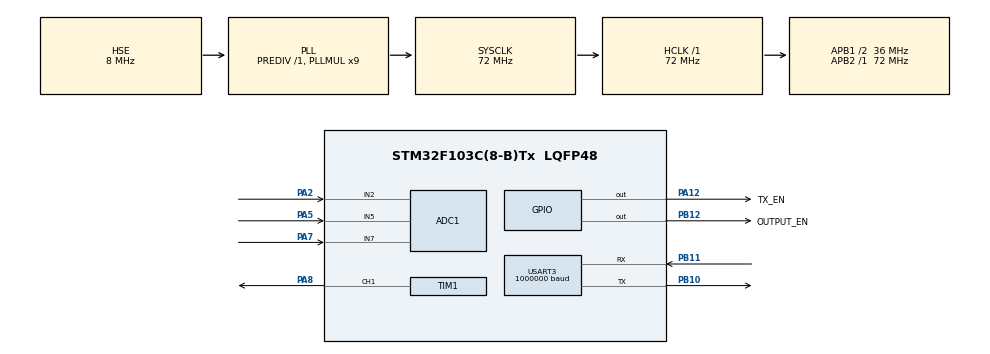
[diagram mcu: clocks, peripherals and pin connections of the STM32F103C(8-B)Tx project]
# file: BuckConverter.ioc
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ADC1.Channel-1\#ChannelRegularConversion=ADC_CHANNEL_2
ADC1.Channel-2\#ChannelRegularConversion=ADC_CHANNEL_5
ADC1.Channel-6\#ChannelRegularConversion=ADC_CHANNEL_7
ADC1.ContinuousConvMode=DISABLE
ADC1.ExternalTrigConv=ADC_EXTERNALTRIGCONV_T3_TRGO
ADC1.InjNumberOfConversion=0
ADC1.NbrOfConversion=3
ADC1.NbrOfConversionFlag=1
ADC1.Rank-1\#ChannelRegularConversion=1
ADC1.Rank-2\#ChannelRegularConversion=2
ADC1.Rank-6\#ChannelRegularConversion=3
ADC1.SamplingTime-1\#ChannelRegularConversion=ADC_SAMPLETIME_55CYCLES_5
ADC1.SamplingTime-2\#ChannelRegularConversion=ADC_SAMPLETIME_55CYCLES_5
ADC1.SamplingTime-6\#ChannelRegularConversion=ADC_SAMPLETIME_55CYCLES_5
ADC1.master=1
Dma.ADC1.0.Direction=DMA_PERIPH_TO_MEMORY
Dma.ADC1.0.Instance=DMA1_Channel1
Dma.ADC1.0.MemDataAlignment=DMA_MDATAALIGN_WORD
Dma.ADC1.0.MemInc=DMA_MINC_ENABLE
Dma.ADC1.0.Mode=DMA_CIRCULAR
Dma.ADC1.0.PeriphDataAlignment=DMA_PDATAALIGN_WORD
Dma.ADC1.0.PeriphInc=DMA_PINC_DISABLE
Dma.ADC1.0.Priority=DMA_PRIORITY_LOW
Dma.Request0=ADC1
Mcu.Family=STM32F1
Mcu.Name=STM32F103C(8-B)Tx
Mcu.Package=LQFP48
NVIC.DMA1_Channel1_IRQn=true\:0\:0\:false\:false\:true\:false\:true
NVIC.PriorityGroup=NVIC_PRIORITYGROUP_2
NVIC.USART3_IRQn=true\:1\:1\:true\:false\:true\:true\:true
PA12.GPIO_Label=TX_EN
PA12.Signal=GPIO_Output
PA13.Mode=Trace_Asynchronous_SW
PA13.Signal=SYS_JTMS-SWDIO
PA14.Mode=Trace_Asynchronous_SW
PA14.Signal=SYS_JTCK-SWCLK
PA2.Signal=ADCx_IN2
PA5.Signal=ADCx_IN5
PA7.Signal=ADCx_IN7
PA8.Signal=S_TIM1_CH1
PB10.Mode=Asynchronous
PB10.Signal=USART3_TX
PB11.Mode=Asynchronous
PB11.Signal=USART3_RX
PB12.GPIO_Label=OUTPUT_EN
PB12.Signal=GPIO_Output
PB3.Mode=Trace_Asynchronous_SW
PB3.Signal=SYS_JTDO-TRACESWO
PD0-OSC_IN.Mode=HSE-External-Oscillator
PD0-OSC_IN.Signal=RCC_OSC_IN
PD1-OSC_OUT.Mode=HSE-External-Oscillator
PD1-OSC_OUT.Signal=RCC_OSC_OUT
ProjectManager.HeapSize=0x200
ProjectManager.StackSize=0x400
ProjectManager.TargetToolchain=MDK-ARM V5
RCC.ADCPresc=RCC_ADCPCLK2_DIV6
RCC.AHBFreq_Value=72000000
RCC.APB1CLKDivider=RCC_HCLK_DIV2
RCC.APB1Freq_Value=36000000
RCC.APB1TimFreq_Value=72000000
RCC.APB2Freq_Value=72000000
RCC.APB2TimFreq_Value=72000000
RCC.HCLKFreq_Value=72000000
RCC.PLLMUL=RCC_PLL_MUL9
RCC.PLLSourceVirtual=RCC_PLLSOURCE_HSE
RCC.SYSCLKFreq_VALUE=72000000
RCC.SYSCLKSource=RCC_SYSCLKSOURCE_PLLCLK
RCC.USBFreq_Value=72000000
SH.ADCx_IN2.0=ADC1_IN2,IN2
SH.ADCx_IN5.0=ADC1_IN5,IN5
SH.ADCx_IN7.0=ADC1_IN7,IN7
SH.S_TIM1_CH1.0=TIM1_CH1,PWM Generation1 CH1
TIM1.Channel-PWM\ Generation1\ CH1=TIM_CHANNEL_1
TIM1.OCPolarity_1=TIM_OCPOLARITY_HIGH
TIM1.Period=99
TIM1.Prescaler=23
TIM1.Pulse-PWM\ Generation1\ CH1=10
TIM3.AutoReloadPreload=TIM_AUTORELOAD_PRELOAD_ENABLE
TIM3.Period=1000
TIM3.Prescaler=3599
TIM3.TIM_MasterOutputTrigger=TIM_TRGO_UPDATE
USART3.BaudRate=1000000
USART3.VirtualMode=VM_ASYNC
VP_TIM1_VS_ClockSourceINT.Mode=Internal
VP_TIM3_VS_ClockSourceINT.Mode=Internal
board=custom

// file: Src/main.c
/* USER CODE BEGIN Header */
/**
  ******************************************************************************
  * @file           : main.c
  * @brief          : Main program body
  ******************************************************************************
  * @attention
  *
  * <h2><center>&copy; Copyright (c) 2019 STMicroelectronics.
  * All rights reserved.</center></h2>
  *
  * This software component is licensed by ST under BSD 3-Clause license,
  * the "License"; You may not use this file except in compliance with the
  * License. You may obtain a copy of the License at:
  *                        opensource.org/licenses/BSD-3-Clause
  *
  ******************************************************************************
  */
/* USER CODE END Header */

#include "main.h"
#include "adc.h"
#include "dma.h"
#include "tim.h"
#include "usart.h"
#include "gpio.h"

/* USER CODE BEGIN Includes */
#include "BuckConverter_UART.h"
#include "BuckConverter_PID.h"

/* USER CODE END Includes */

/* USER CODE BEGIN PTD */
PID_TypeDef pid;
DXLLineTypeDef Master;

/* USER CODE END PTD */

/* USER CODE BEGIN PV */
uint32_t  adc_buffer[3];
uint8_t IN_Voltage, OUT_Voltage;
float Input_Voltage, Output_Voltage, Output_Current;
double Pid_Value = 0;
uint32_t ACSoffset = 3102;
uint32_t ZeroOffset = 0;
uint8_t MainBoard_Response[10];
uint8_t LookUp_Table[10];
uint8_t RX_Buffer[8];
uint8_t Packet_Length;
int counter = 0;
float duty;
float VoltSense;
uint8_t set_power;
uint8_t Volt = 0;

/* USER CODE END PV */

void SystemClock_Config(void);
/* USER CODE BEGIN PFP */
void Power(uint8_t SetPower);
void Set_OutputVoltage(uint8_t Voltage);
void LookUpTable_Update(void);
void Parameters_init(void);
void MainBoardRead_Data(uint8_t *Packet);

/* USER CODE END PFP */

int main(void)
{

  /* MCU Configuration--------------------------------------------------------*/

  /* Reset of all peripherals, Initializes the Flash interface and the Systick. */
  HAL_Init();

  /* Configure the system clock */
  SystemClock_Config();

  /* Initialize all configured peripherals */
  MX_GPIO_Init();
  MX_DMA_Init();
  MX_ADC1_Init();
  MX_TIM1_Init();
  MX_USART3_UART_Init();
  MX_TIM3_Init();
  /* USER CODE BEGIN 2 */
	HAL_ADC_Start_DMA(&hadc1, adc_buffer, 3);
  HAL_TIM_Base_Start_IT(&htim3);
  PID_Init(&pid, 1, 0, 0);

	DXLStruct_Initializer(&Master);

	MainBoard_Response[0] = 0xFF;
	MainBoard_Response[1] = 0xFF;
	MainBoard_Response[2] = MY_ID;
	MainBoard_Response[4] = DXL_NoError;
	Master.Buffer[Master.BufferLastIndex + 7] = set_power;
	Power(set_power);
	HAL_UART_Receive_IT(&huart3, &Master.InputData, 1);
	duty = 12 * 100 / Input_Voltage;
	__HAL_TIM_SET_COMPARE(&htim1, TIM_CHANNEL_1, (uint16_t)duty);
	HAL_TIM_PWM_Start(&htim1, TIM_CHANNEL_1);

	HAL_UART_Receive_IT(&huart3, &Master.InputData, 1);
  /* USER CODE END 2 */

  /* Infinite loop */
  while (1)
  {

    /* USER CODE BEGIN 3 */

		LookUpTable_Update();
		if(counter >= 100 )
		{
			HAL_GPIO_WritePin(GPIOB, GPIO_PIN_12, GPIO_PIN_RESET);
			counter = 0;
		}
		Set_OutputVoltage(Volt);

  }
  /* USER CODE END 3 */
}

void SystemClock_Config(void)
{
  RCC_OscInitTypeDef RCC_OscInitStruct = {0};
  RCC_ClkInitTypeDef RCC_ClkInitStruct = {0};
  RCC_PeriphCLKInitTypeDef PeriphClkInit = {0};

  /** Initializes the CPU, AHB and APB busses clocks
  */
  RCC_OscInitStruct.OscillatorType = RCC_OSCILLATORTYPE_HSE;
  RCC_OscInitStruct.HSEState = RCC_HSE_ON;
  RCC_OscInitStruct.HSEPredivValue = RCC_HSE_PREDIV_DIV1;
  RCC_OscInitStruct.HSIState = RCC_HSI_ON;
  RCC_OscInitStruct.PLL.PLLState = RCC_PLL_ON;
  RCC_OscInitStruct.PLL.PLLSource = RCC_PLLSOURCE_HSE;
  RCC_OscInitStruct.PLL.PLLMUL = RCC_PLL_MUL9;
  if (HAL_RCC_OscConfig(&RCC_OscInitStruct) != HAL_OK)
  {
    Error_Handler();
  }
  /** Initializes the CPU, AHB and APB busses clocks
  */
  RCC_ClkInitStruct.ClockType = RCC_CLOCKTYPE_HCLK|RCC_CLOCKTYPE_SYSCLK
                              |RCC_CLOCKTYPE_PCLK1|RCC_CLOCKTYPE_PCLK2;
  RCC_ClkInitStruct.SYSCLKSource = RCC_SYSCLKSOURCE_PLLCLK;
  RCC_ClkInitStruct.AHBCLKDivider = RCC_SYSCLK_DIV1;
  RCC_ClkInitStruct.APB1CLKDivider = RCC_HCLK_DIV2;
  RCC_ClkInitStruct.APB2CLKDivider = RCC_HCLK_DIV1;

  if (HAL_RCC_ClockConfig(&RCC_ClkInitStruct, FLASH_LATENCY_2) != HAL_OK)
  {
    Error_Handler();
  }
  PeriphClkInit.PeriphClockSelection = RCC_PERIPHCLK_ADC;
  PeriphClkInit.AdcClockSelection = RCC_ADCPCLK2_DIV6;
  if (HAL_RCCEx_PeriphCLKConfig(&PeriphClkInit) != HAL_OK)
  {
    Error_Handler();
  }
}

/* USER CODE BEGIN 4 */
void HAL_UART_RxCpltCallback(UART_HandleTypeDef *huart)
{
	if(huart->Instance == USART3)
	{
		// HAL_GPIO_WritePin(GPIOB, GPIO_PIN_12, GPIO_PIN_SET);
		Packet_Length = Master_CheckPacket(&huart3, &Master);
		if(Packet_Length > 0)
		{
			if(Master.Buffer[Master.BufferLastIndex + 2] == MY_ID)
			{
				if(DXL_CheckSumCalc(&Master.Buffer[Master.BufferLastIndex]) == Master.Buffer[Master.BufferLastIndex + Packet_Length - 1])
				{
					switch(Master.Buffer[Master.BufferLastIndex + 4])
					{
						case DXL_READ_DATA:
							MainBoardRead_Data(&Master.Buffer[Master.BufferLastIndex]);
						break;
						case DXL_WRITE_DATA:
							if(Master.Buffer[Master.BufferLastIndex + 5]==0)
								Volt = Master.Buffer[Master.BufferLastIndex + 6];
							else
								Power(Master.Buffer[Master.BufferLastIndex + 6]);
						break;
					}
				}
			}
		}
	}
}

void HAL_UART_TxCpltCallback(UART_HandleTypeDef *huart)
{
	HAL_GPIO_WritePin(TX_EN_GPIO_Port, TX_EN_Pin, GPIO_PIN_RESET);
}

void Set_OutputVoltage(uint8_t Voltage)
{
	if( Voltage < 15 )
	{
	HAL_GPIO_WritePin(GPIOB, GPIO_PIN_12, GPIO_PIN_SET);		//ShutDown_Gpio
	Pid_Value = PID_Compute(&pid, Output_Voltage, Voltage);
	duty = Voltage * 100 / Input_Voltage;
	duty += Pid_Value;
	/* if(Pid_Value<1 && Pid_Value > 0)
	{
		Pid_Value = 1;
	}
	else if(Pid_Value > -1 && Pid_Value < 0)
	{
		Pid_Value = -1;
	}*/
	__HAL_TIM_SET_COMPARE(&htim1, TIM_CHANNEL_1, (uint16_t)duty);
	}

}

void HAL_ADC_ConvCpltCallback(ADC_HandleTypeDef* hadc)
{
	Input_Voltage = adc_buffer[2] * (3.3/4095) * (1/0.1076);
	Output_Voltage = adc_buffer[1] * (3.3/4095) * (1/0.1076);
	VoltSense = adc_buffer[0] + ZeroOffset;
	Output_Current =(((ACSoffset) - (VoltSense))*0.806)/185;
	if (Output_Current > 4)
	{
		counter++;
	}

}

void LookUpTable_Update(void)
{
	IN_Voltage  = Input_Voltage  * 10;
	OUT_Voltage = Output_Voltage * 10;
	LookUp_Table[0] = IN_Voltage;
	LookUp_Table[1] = OUT_Voltage;
}

void MainBoardRead_Data(uint8_t* Packet)
{
	MainBoard_Response[3] = Packet[6] + 2;
	for(uint8_t i = 0; i < Packet[6]; i++)
	{
		MainBoard_Response[i + 5] = LookUp_Table[Packet[5] + i];
	}
	MainBoard_Response[Packet[6] + 5] = DXL_CheckSumCalc(MainBoard_Response);
	HAL_GPIO_WritePin(GPIOA, GPIO_PIN_12, GPIO_PIN_SET);
	HAL_UART_Transmit_IT(&huart3, MainBoard_Response, MainBoard_Response[3] + 4);
}
void Power(uint8_t SetPower)
{
	if(SetPower == 0x01)
	{
		HAL_GPIO_WritePin(GPIOB, GPIO_PIN_12, GPIO_PIN_SET);
	}
if(SetPower == 0x00)
	{
		HAL_GPIO_WritePin(GPIOB, GPIO_PIN_12, GPIO_PIN_SET);
	}
}

/* USER CODE END 4 */

void Error_Handler(void)
{
}

/************************ (C) COPYRIGHT STMicroelectronics *****END OF FILE****/
